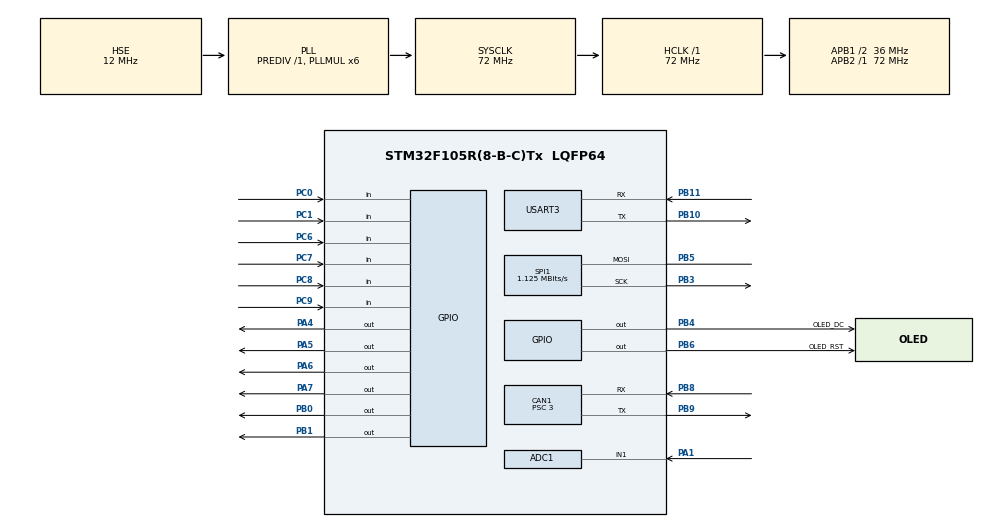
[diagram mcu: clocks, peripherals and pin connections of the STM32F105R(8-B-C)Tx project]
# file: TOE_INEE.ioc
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ADC1.Channel-0\#ChannelRegularConversion=ADC_CHANNEL_1
ADC1.ContinuousConvMode=ENABLE
ADC1.NbrOfConversionFlag=1
ADC1.Rank-0\#ChannelRegularConversion=1
ADC1.SamplingTime-0\#ChannelRegularConversion=ADC_SAMPLETIME_1CYCLE_5
ADC1.master=1
CAN1.ABOM=ENABLE
CAN1.BS1=CAN_BS1_6TQ
CAN1.BS2=CAN_BS2_5TQ
CAN1.CalculateTimeBit=1000
CAN1.CalculateTimeQuantum=83.33333333333334
CAN1.Prescaler=3
CAN1.TXFP=ENABLE
Dma.ADC1.1.Direction=DMA_PERIPH_TO_MEMORY
Dma.ADC1.1.Instance=DMA1_Channel1
Dma.ADC1.1.MemDataAlignment=DMA_MDATAALIGN_HALFWORD
Dma.ADC1.1.MemInc=DMA_MINC_ENABLE
Dma.ADC1.1.Mode=DMA_CIRCULAR
Dma.ADC1.1.PeriphDataAlignment=DMA_PDATAALIGN_HALFWORD
Dma.ADC1.1.PeriphInc=DMA_PINC_DISABLE
Dma.ADC1.1.Priority=DMA_PRIORITY_LOW
Dma.Request0=USART3_RX
Dma.Request1=ADC1
Dma.USART3_RX.0.Direction=DMA_PERIPH_TO_MEMORY
Dma.USART3_RX.0.Instance=DMA1_Channel3
Dma.USART3_RX.0.MemDataAlignment=DMA_MDATAALIGN_BYTE
Dma.USART3_RX.0.MemInc=DMA_MINC_ENABLE
Dma.USART3_RX.0.Mode=DMA_CIRCULAR
Dma.USART3_RX.0.PeriphDataAlignment=DMA_PDATAALIGN_BYTE
Dma.USART3_RX.0.PeriphInc=DMA_PINC_DISABLE
Dma.USART3_RX.0.Priority=DMA_PRIORITY_LOW
FREERTOS.INCLUDE_vTaskDelayUntil=1
FREERTOS.Tasks01=defaultTask,-3,256,debugThread,Default,NULL,Dynamic,NULL,NULL;PidThread,-3,256,pidThread,As weak,NULL,Dynamic,NULL,NULL;MainTask,-3,256,mainThread,As weak,NULL,Dynamic,NULL,NULL;MinorTak,-3,128,minorThread,As weak,NULL,Dynamic,NULL,NULL
IWDG.Prescaler=IWDG_PRESCALER_32
IWDG.Reload=300
Mcu.Family=STM32F1
Mcu.Name=STM32F105R(8-B-C)Tx
Mcu.Package=LQFP64
NVIC.CAN1_RX0_IRQn=true\:5\:0\:false\:false\:true\:true\:true\:true
NVIC.CAN1_TX_IRQn=true\:5\:0\:false\:false\:true\:true\:true\:true
NVIC.DMA1_Channel1_IRQn=true\:5\:0\:false\:false\:true\:true\:false\:true
NVIC.DMA1_Channel3_IRQn=true\:5\:0\:false\:false\:true\:true\:false\:true
NVIC.PriorityGroup=NVIC_PRIORITYGROUP_4
NVIC.USART3_IRQn=true\:5\:0\:false\:false\:true\:true\:true\:true
PA1.Signal=ADCx_IN1
PA13.Mode=Serial_Wire
PA13.Signal=SYS_JTMS-SWDIO
PA14.Mode=Serial_Wire
PA14.Signal=SYS_JTCK-SWCLK
PA4.Signal=GPIO_Output
PA5.Signal=GPIO_Output
PA6.Signal=GPIO_Output
PA7.Signal=GPIO_Output
PB0.GPIO_PuPd=GPIO_NOPULL
PB0.Signal=GPIO_Output
PB1.GPIO_PuPd=GPIO_NOPULL
PB1.Signal=GPIO_Output
PB10.Mode=Asynchronous
PB10.Signal=USART3_TX
PB11.Mode=Asynchronous
PB11.Signal=USART3_RX
PB3.Mode=Simplex_Bidirectional_Master
PB3.Signal=SPI1_SCK
PB4.GPIO_Label=OLED_DC
PB4.Signal=GPIO_Output
PB5.Mode=Simplex_Bidirectional_Master
PB5.Signal=SPI1_MOSI
PB6.GPIO_Label=OLED_RST
PB6.Signal=GPIO_Output
PB8.Mode=Master
PB8.Signal=CAN1_RX
PB9.Mode=Master
PB9.Signal=CAN1_TX
PC0.Signal=GPIO_Input
PC1.Signal=GPIO_Input
PC6.GPIO_PuPd=GPIO_PULLUP
PC6.Signal=GPIO_Input
PC7.GPIO_PuPd=GPIO_PULLUP
PC7.Signal=GPIO_Input
PC8.GPIO_PuPd=GPIO_PULLUP
PC8.Signal=GPIO_Input
PC9.GPIO_PuPd=GPIO_PULLUP
PC9.Signal=GPIO_Input
PD0-OSC_IN.Mode=HSE-External-Oscillator
PD0-OSC_IN.Signal=RCC_OSC_IN
PD1-OSC_OUT.Mode=HSE-External-Oscillator
PD1-OSC_OUT.Signal=RCC_OSC_OUT
ProjectManager.HeapSize=0x200
ProjectManager.StackSize=0x400
ProjectManager.TargetToolchain=MDK-ARM V5
RCC.ADCPresc=RCC_ADCPCLK2_DIV6
RCC.AHBFreq_Value=72000000
RCC.APB1CLKDivider=RCC_HCLK_DIV2
RCC.APB1Freq_Value=36000000
RCC.APB1TimFreq_Value=72000000
RCC.APB2Freq_Value=72000000
RCC.APB2TimFreq_Value=72000000
RCC.HCLKFreq_Value=72000000
RCC.HSE_VALUE=12000000
RCC.PLLMUL=RCC_PLL_MUL6
RCC.PLLSourceVirtual=RCC_PLLSOURCE_HSE
RCC.SYSCLKFreq_VALUE=72000000
RCC.SYSCLKSource=RCC_SYSCLKSOURCE_PLLCLK
RCC.USBFreq_Value=48000000
SH.ADCx_IN1.0=ADC1_IN1,IN1
SPI1.BaudRatePrescaler=SPI_BAUDRATEPRESCALER_64
SPI1.CalculateBaudRate=1.125 MBits/s
SPI1.Direction=SPI_DIRECTION_1LINE
SPI1.Mode=SPI_MODE_MASTER
SPI1.VirtualType=VM_MASTER
USART3.VirtualMode=VM_ASYNC
VP_FREERTOS_VS_CMSIS_V1.Mode=CMSIS_V1
VP_IWDG_VS_IWDG.Mode=IWDG_Activate
board=custom

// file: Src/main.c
/* USER CODE BEGIN Header */
/**
  ******************************************************************************
  * @file           : main.c
  * @brief          : Main program body
  ******************************************************************************
  * @attention
  *
  * <h2><center>&copy; Copyright (c) 2019 STMicroelectronics.
  * All rights reserved.</center></h2>
  *
  * This software component is licensed by ST under BSD 3-Clause license,
  * the "License"; You may not use this file except in compliance with the
  * License. You may obtain a copy of the License at:
  *                        opensource.org/licenses/BSD-3-Clause
  *
  ******************************************************************************
  */
/* USER CODE END Header */

#include "main.h"
#include "cmsis_os.h"
#include "adc.h"
#include "can.h"
#include "dma.h"
#include "iwdg.h"
#include "spi.h"
#include "usart.h"
#include "gpio.h"

/* USER CODE BEGIN Includes */
#include "bsp_can.h"
#include "bsp_uart.h"
#include "oled.h"
#include "bsp_io.h"
/* USER CODE END Includes */

void SystemClock_Config(void);
void MX_FREERTOS_Init(void);

int main(void)
{

  /* MCU Configuration--------------------------------------------------------*/

  /* Reset of all peripherals, Initializes the Flash interface and the Systick. */
  HAL_Init();

  /* Configure the system clock */
  SystemClock_Config();

  /* Initialize all configured peripherals */
  MX_GPIO_Init();
  MX_CAN1_Init();
  MX_DMA_Init();
  MX_USART3_UART_Init();
  MX_ADC1_Init();
  MX_SPI1_Init();

  /* USER CODE BEGIN 2 */
  CAN_InitArgument();
	HAL_Delay(200);
	USART_InitArgument();
	HAL_Delay(200);
	GPIO_InitArgument();
	HAL_Delay(200);
	ADC_InitArgument();
	HAL_Delay(200);

	LED_G_OFF;
	HAL_Delay(200);
	MX_IWDG_Init();	//Cube配置完记得注释掉上面自动生成的看门狗初始化函数
  /* USER CODE END 2 */

  /* Call init function for freertos objects (in freertos.c) */
  MX_FREERTOS_Init();

  /* Start scheduler */
  osKernelStart();

  /* We should never get here as control is now taken by the scheduler */

  /* Infinite loop */
  while (1)
  {

  }
}

void SystemClock_Config(void)
{
  RCC_OscInitTypeDef RCC_OscInitStruct = {0};
  RCC_ClkInitTypeDef RCC_ClkInitStruct = {0};
  RCC_PeriphCLKInitTypeDef PeriphClkInit = {0};

  /** Initializes the CPU, AHB and APB busses clocks
  */
  RCC_OscInitStruct.OscillatorType = RCC_OSCILLATORTYPE_LSI|RCC_OSCILLATORTYPE_HSE;
  RCC_OscInitStruct.HSEState = RCC_HSE_ON;
  RCC_OscInitStruct.HSEPredivValue = RCC_HSE_PREDIV_DIV1;
  RCC_OscInitStruct.HSIState = RCC_HSI_ON;
  RCC_OscInitStruct.LSIState = RCC_LSI_ON;
  RCC_OscInitStruct.Prediv1Source = RCC_PREDIV1_SOURCE_HSE;
  RCC_OscInitStruct.PLL.PLLState = RCC_PLL_ON;
  RCC_OscInitStruct.PLL.PLLSource = RCC_PLLSOURCE_HSE;
  RCC_OscInitStruct.PLL.PLLMUL = RCC_PLL_MUL6;
  RCC_OscInitStruct.PLL2.PLL2State = RCC_PLL_NONE;
  if (HAL_RCC_OscConfig(&RCC_OscInitStruct) != HAL_OK)
  {
    Error_Handler();
  }
  /** Initializes the CPU, AHB and APB busses clocks
  */
  RCC_ClkInitStruct.ClockType = RCC_CLOCKTYPE_HCLK|RCC_CLOCKTYPE_SYSCLK
                              |RCC_CLOCKTYPE_PCLK1|RCC_CLOCKTYPE_PCLK2;
  RCC_ClkInitStruct.SYSCLKSource = RCC_SYSCLKSOURCE_PLLCLK;
  RCC_ClkInitStruct.AHBCLKDivider = RCC_SYSCLK_DIV1;
  RCC_ClkInitStruct.APB1CLKDivider = RCC_HCLK_DIV2;
  RCC_ClkInitStruct.APB2CLKDivider = RCC_HCLK_DIV1;

  if (HAL_RCC_ClockConfig(&RCC_ClkInitStruct, FLASH_LATENCY_2) != HAL_OK)
  {
    Error_Handler();
  }
  PeriphClkInit.PeriphClockSelection = RCC_PERIPHCLK_ADC;
  PeriphClkInit.AdcClockSelection = RCC_ADCPCLK2_DIV6;
  if (HAL_RCCEx_PeriphCLKConfig(&PeriphClkInit) != HAL_OK)
  {
    Error_Handler();
  }
  /** Configure the Systick interrupt time
  */
  __HAL_RCC_PLLI2S_ENABLE();
}

void Error_Handler(void)
{
}

/************************ (C) COPYRIGHT STMicroelectronics *****END OF FILE****/

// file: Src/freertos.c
/* USER CODE BEGIN Header */
/**
  ******************************************************************************
  * File Name          : freertos.c
  * Description        : Code for freertos applications
  ******************************************************************************
  * @attention
  *
  * <h2><center>&copy; Copyright (c) 2019 STMicroelectronics.
  * All rights reserved.</center></h2>
  *
  * This software component is licensed by ST under Ultimate Liberty license
  * SLA0044, the "License"; You may not use this file except in compliance with
  * the License. You may obtain a copy of the License at:
  *                             www.st.com/SLA0044
  *
  ******************************************************************************
  */
/* USER CODE END Header */

#include "FreeRTOS.h"
#include "task.h"
#include "main.h"
#include "cmsis_os.h"

/* USER CODE BEGIN Includes */
#include "bsp_can.h"
#include "bsp_io.h"
#include "bsp_uart.h"
#include "minorThread.h"
#include "logic_handle_task.h"
#include "logic_handle_task.h"
#include "pid.h"
#include "oled.h"
#include "adc.h"
/* USER CODE END Includes */

osThreadId defaultTaskHandle;
osThreadId PidThreadHandle;
osThreadId MainTaskHandle;
osThreadId MinorTakHandle;

void debugThread(void const * argument);
void pidThread(void const * argument);
void mainThread(void const * argument);
void minorThread(void const * argument);

void MX_FREERTOS_Init(void); /* (MISRA C 2004 rule 8.1) */

/* GetIdleTaskMemory prototype (linked to static allocation support) */
void vApplicationGetIdleTaskMemory( StaticTask_t **ppxIdleTaskTCBBuffer, StackType_t **ppxIdleTaskStackBuffer, uint32_t *pulIdleTaskStackSize );

/* USER CODE BEGIN GET_IDLE_TASK_MEMORY */
static StaticTask_t xIdleTaskTCBBuffer;
static StackType_t xIdleStack[configMINIMAL_STACK_SIZE];

void vApplicationGetIdleTaskMemory( StaticTask_t **ppxIdleTaskTCBBuffer, StackType_t **ppxIdleTaskStackBuffer, uint32_t *pulIdleTaskStackSize )
{
  *ppxIdleTaskTCBBuffer = &xIdleTaskTCBBuffer;
  *ppxIdleTaskStackBuffer = &xIdleStack[0];
  *pulIdleTaskStackSize = configMINIMAL_STACK_SIZE;
  /* place for user code */
}
/* USER CODE END GET_IDLE_TASK_MEMORY */

void MX_FREERTOS_Init(void) {

  /* Create the thread(s) */
  /* definition and creation of defaultTask */
  osThreadDef(defaultTask, debugThread, osPriorityIdle, 0, 256);
  defaultTaskHandle = osThreadCreate(osThread(defaultTask), NULL);

//  /* definition and creation of PidThread */
//  osThreadDef(PidThread, pidThread, osPriorityIdle, 0, 256);
//  PidThreadHandle = osThreadCreate(osThread(PidThread), NULL);

  /* definition and creation of MainTask */
  osThreadDef(MainTask, mainThread, osPriorityIdle, 0, 256);
  MainTaskHandle = osThreadCreate(osThread(MainTask), NULL);

  /* definition and creation of MinorTak */
  osThreadDef(MinorTak, minorThread, osPriorityIdle, 0, 128);
  MinorTakHandle = osThreadCreate(osThread(MinorTak), NULL);

}

void debugThread(void const * argument)
{
  /* USER CODE BEGIN debugThread */
  /* Infinite loop */
  for(;;)
  {

#if 1
		printf("##FETCH REVENLENT : ##\r\n");
		printf("fps[LeftFlip] = %d\r\n",r_fps[LeftFlip].fps);
		printf("fps[RightFlip] = %d\r\n",r_fps[RightFlip].fps);
		printf("fps[MasterID] = %d\r\n",r_fps[MasterID].fps);
		printf("loop_cnt= %d\r\n",logic_data.loop_cnt);
		printf(".task_cnt = %d\r\n",logic_data.task_cnt);
		printf(".fetch_mode = %d\r\n",logic_data.fetch_mode);
		printf(".clawState = %d\r\n",logic_data.clawState);
		printf("CurrentAngle = %.2f\r\n",MotoData[MidSlip].total_angle);
		printf("TargetAngle = %.3f\r\n",moto_ctrl[Slip].target);
		printf("TargetAngle = %.3f\r\n",moto_ctrl[Flip].target);
#endif
#if 0
		printf("# MOTO ECD REVENLENT #: \r\n");
		//			printf("MotoData[LeftFlip] = %d \r\n",MotoData[LeftFlip].ecd);
		//			printf("MotoData[RightFlip] = %d \r\n",MotoData[RightFlip].ecd);
		printf("MotoData[MidSlip] = %d \r\n",MotoData[MidSlip].ecd);
#endif
#if 0
		printf("# LOGIC DATA REVENLENT #: \r\n");
		//			printf("MotoData[LeftFlip] = %d \r\n",MotoData[LeftFlip].ecd);
		//			printf("MotoData[RightFlip] = %d \r\n",MotoData[RightFlip].ecd);
		printf("Raw_mode = %d \r\n",logic_data.raw_mode);
		printf("moto[Slip].target = %.3f\r\n",moto_ctrl[Slip].target);
#endif
#if 0
		printf("SLIP PID REVENLENT : ##\r\n");
		printf("TargetAngle = %.2f\r\n",moto_ctrl[Slip].target);
		printf("CurrentAngle = %.2f\r\n",MotoData[MidSlip].total_angle);
		printf("AngleError = #%.2f\r\n",pid_out[Slip].errNow);
		printf("FirstCtrOut = %.2f\r\n",pid_out[Slip].ctrOut);
		printf("CurrentSpd = %d\r\n",MotoData[MidSlip].speed_rpm);	 // MotoData[RightUpLift].speed_rpm
		printf("SpdError = %.2f\r\n",pid_in[MidSlip].errNow);
		printf("FinalCtrOut = %d\r\n",(int16_t)pid_in[MidSlip].ctrOut);
#endif

#if 0
		printf("# FLIP PID REVENLENT : #\r\n");
		printf("TargetAngle = %.2f\r\n",moto_ctrl[Flip].target);
		printf("CurrentAngle = %.2f\r\n",MotoData[LeftFlip].total_angle);
		printf("AngleError = %.2f\r\n",pid_out[Flip].errNow);
		printf("FirstCtrOut = %.2f\r\n",pid_out[Flip].ctrOut);
		printf("CurrentSpd = %d\r\n",MotoData[LeftFlip].speed_rpm);	 // MotoData[RightUpLift].speed_rpm
		printf("SpdError = %.2f\r\n",pid_in[LeftFlip].errNow);
		printf("LeftFlipCtrOut = %d\r\n",(int16_t)pid_in[LeftFlip].ctrOut);
		printf("RightFlipCtrOut = %d\r\n",(int16_t)pid_in[RightFlip].ctrOut);
#endif

		LED_G_TOG;
		OMRON_STATE_DETECT();
    osDelay(100);
  }
  /* USER CODE END debugThread */
}

/* USER CODE BEGIN Header_pidThread */
/**
* @brief Function implementing the PidThread thread.
* @param argument: Not used
* @retval None
*/
extern uint8_t canFlag;

/* USER CODE END Header_pidThread */
__weak void pidThread(void const * argument)
{
  for(;;)
  {
  }
}

__weak void mainThread(void const * argument)
{
  /* USER CODE BEGIN mainThread */
  /* Infinite loop */
  for(;;)
  {

    osDelay(1000);
  }
  /* USER CODE END mainThread */
}

__weak void minorThread(void const * argument)
{
  for(;;)
  {
    osDelay(1);
  }
}

/************************ (C) COPYRIGHT STMicroelectronics *****END OF FILE****/
